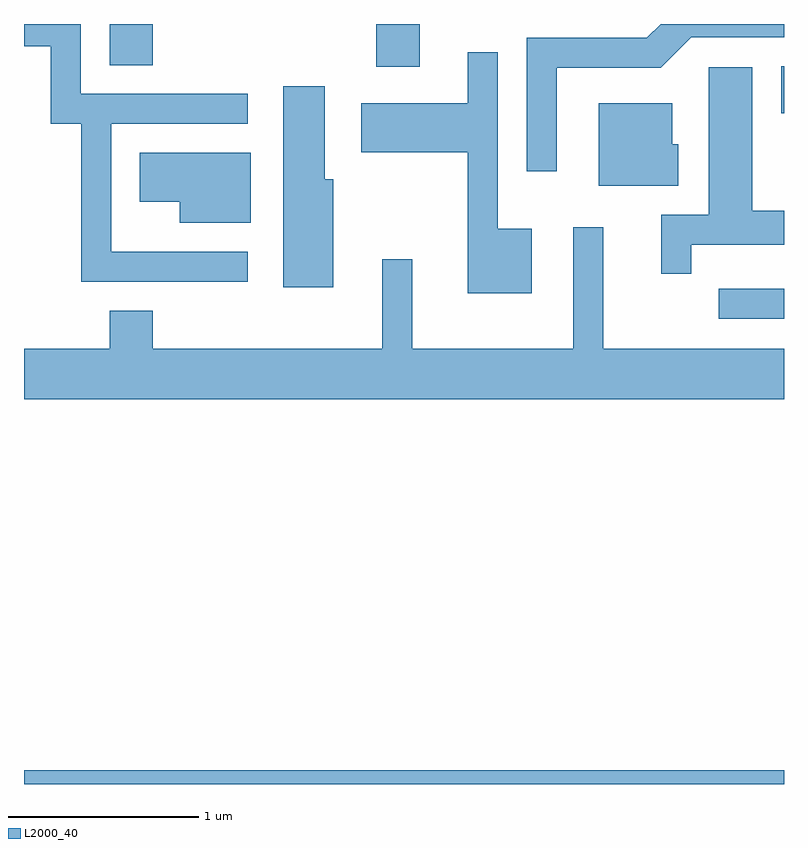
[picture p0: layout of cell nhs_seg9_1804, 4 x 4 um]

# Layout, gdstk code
import gdstk
lib = gdstk.Library(unit=1e-6, precision=1e-09)
def R(c, l, rs):  # rectangles x0, y0, x1, y1
    for r in rs: c.add(gdstk.rectangle(r[:2], r[2:], *l))
def P(c, l, *ps):  # polygons
    for p in ps: c.add(gdstk.Polygon(p, *l))
L2000_40 = (2000, 40)

nhs_seg9_1804 = lib.new_cell('nhs_seg9_1804')
R(nhs_seg9_1804, L2000_40, [(237.611,2016.432,241.611,2016.504), (241.268,2018.881,241.611,2019.039), (241.596,2019.961,241.611,2020.209), (239.466,2020.206,239.694,2020.432), (238.061,2020.216,238.289,2020.432)])
P(nhs_seg9_1804, L2000_40, [(238.788,2019.234),(238.069,2019.234),(238.069,2019.906),(238.788,2019.906),(238.788,2020.064),(237.909,2020.064),(237.909,2020.432),(237.611,2020.432),(237.611,2020.316),(237.751,2020.316),(237.751,2019.906),(237.911,2019.906),(237.911,2019.076),(238.788,2019.076)],
  [(240.414,2020.201),(240.962,2020.201),(241.122,2020.361),(241.611,2020.361),(241.611,2020.432),(240.962,2020.432),(240.889,2020.359),(240.256,2020.359),(240.256,2019.658),(240.414,2019.658)],
  [(240.284,2019.354),(240.104,2019.354),(240.104,2020.283),(239.946,2020.283),(239.946,2020.014),(239.386,2020.014),(239.386,2019.756),(239.946,2019.756),(239.946,2019.016),(240.284,2019.016)],
  [(241.124,2019.271),(241.611,2019.271),(241.611,2019.449),(241.444,2019.449),(241.444,2020.204),(241.216,2020.204),(241.216,2019.429),(240.966,2019.429),(240.966,2019.118),(241.124,2019.118)],
  [(239.239,2019.614),(239.194,2019.614),(239.194,2020.104),(238.976,2020.104),(238.976,2019.046),(239.239,2019.046)],
  [(241.054,2019.799),(241.024,2019.799),(241.024,2020.014),(240.636,2020.014),(240.636,2019.581),(241.054,2019.581)],
  [(238.804,2019.754),(238.221,2019.754),(238.221,2019.496),(238.431,2019.496),(238.431,2019.386),(238.804,2019.386)],
  [(241.611,2018.724),(240.659,2018.724),(240.659,2019.363),(240.501,2019.363),(240.501,2018.724),(239.654,2018.724),(239.654,2019.193),(239.496,2019.193),(239.496,2018.724),(238.289,2018.724),(238.289,2018.924),(238.061,2018.924),(238.061,2018.724),(237.611,2018.724),(237.611,2018.456),(241.611,2018.456)])

lib.write_gds('nhs_seg9_1804.gds')
